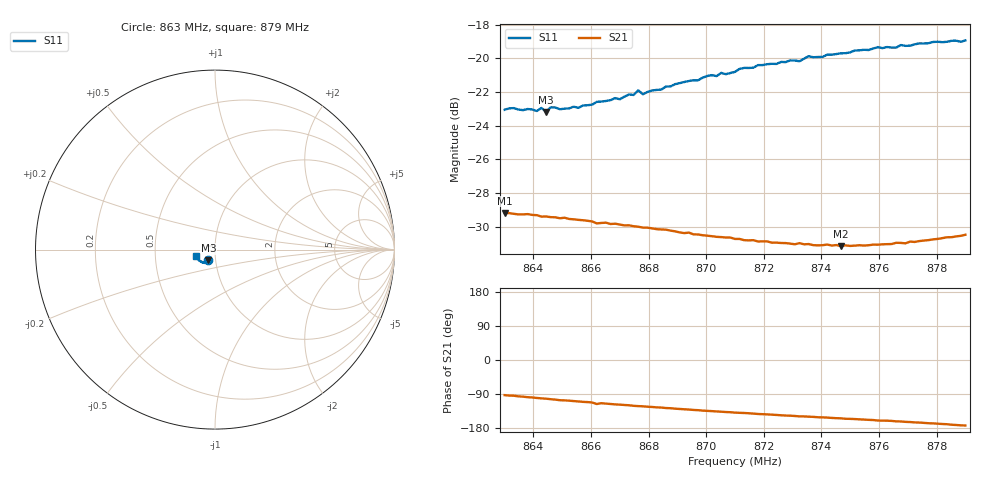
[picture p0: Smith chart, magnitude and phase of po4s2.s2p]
# HZ S RI R 50
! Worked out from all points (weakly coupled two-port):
!   101 points, 863 MHz to 879 MHz, reference 50 ohm
!   highest |S21| = -29.19 dB at 863 MHz (marker M1); lowest = -31.2 dB at 874.68 MHz (marker M2)
!   lowest |S11| = -23.2 dB at 864.44 MHz (marker M3), VSWR 1.15, Z = 46.2 - j5.46 ohm
!   |S11| at or under -10 dB: start of sweep to end of sweep
!   S12 and S22 are empty: the file has one direction only
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8.63e8  -0.0398 -0.058  -0.00166 -0.0347  0 0  0 0
8.6412e8  -0.038 -0.0585  -0.00605 -0.0336  0 0  0 0
8.6428e8  -0.0374 -0.0606  -0.0066 -0.0332  0 0  0 0
8.6444e8  -0.0366 -0.0589  -0.0071 -0.0331  0 0  0 0
8.646e8  -0.0382 -0.0605  -0.00783 -0.0328  0 0  0 0
8.6492e8  -0.0361 -0.0607  -0.00931 -0.0321  0 0  0 0
8.6572e8  -0.0357 -0.0631  -0.0115 -0.0309  0 0  0 0
8.67e8  -0.0375 -0.0657  -0.0149 -0.0284  0 0  0 0
8.6748e8  -0.0374 -0.0683  -0.0163 -0.0272  0 0  0 0
8.6764e8  -0.0395 -0.07  -0.0166 -0.0269  0 0  0 0
8.678e8  -0.0387 -0.068  -0.0167 -0.0266  0 0  0 0
8.6844e8  -0.0409 -0.0697  -0.018 -0.0253  0 0  0 0
8.7004e8  -0.0496 -0.0735  -0.0207 -0.0213  0 0  0 0
8.71e8  -0.0546 -0.0731  -0.0219 -0.0191  0 0  0 0
8.718e8  -0.0606 -0.0738  -0.0226 -0.0174  0 0  0 0
8.7324e8  -0.0694 -0.0694  -0.0242 -0.0146  0 0  0 0
8.7356e8  -0.0737 -0.0699  -0.0242 -0.0142  0 0  0 0
8.7372e8  -0.0727 -0.0699  -0.0241 -0.0139  0 0  0 0
8.7468e8  -0.0804 -0.0654  -0.0248 -0.0122  0 0  0 0
8.7596e8  -0.0901 -0.0597  -0.0262 -0.00968  0 0  0 0
8.7644e8  -0.0923 -0.0556  -0.0265 -0.00925  0 0  0 0
8.79e8  -0.1078 -0.0342  -0.0297 -0.00369  0 0  0 0
